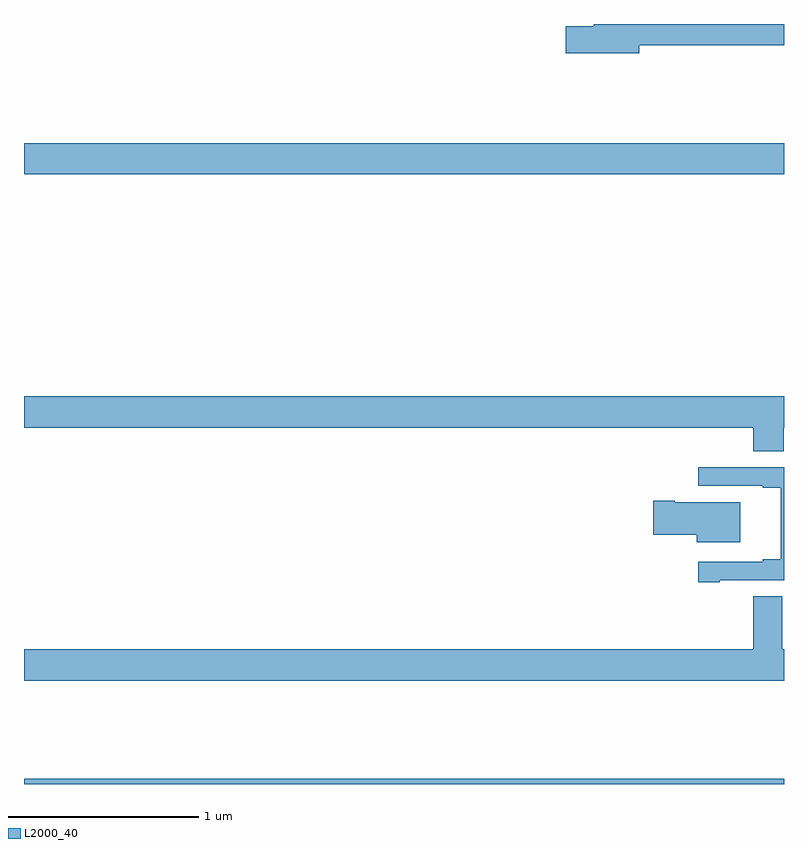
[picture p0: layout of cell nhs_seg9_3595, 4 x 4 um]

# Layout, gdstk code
import gdstk
lib = gdstk.Library(unit=1e-6, precision=1e-09)
def R(c, l, rs):  # rectangles x0, y0, x1, y1
    for r in rs: c.add(gdstk.rectangle(r[:2], r[2:], *l))
def P(c, l, *ps):  # polygons
    for p in ps: c.add(gdstk.Polygon(p, *l))
L2000_40 = (2000, 40)

nhs_seg9_3595 = lib.new_cell('nhs_seg9_3595')
R(nhs_seg9_3595, L2000_40, [(315,1238.5,319,1238.528), (315,1241.708,319,1241.872)])
P(nhs_seg9_3595, L2000_40, [(318.238,1242.388),(319,1242.388),(319,1242.5),(317.999,1242.5),(317.999,1242.488),(317.85,1242.488),(317.85,1242.346),(318.238,1242.346)],
  [(318.999,1240.376),(319,1240.376),(319,1240.54),(315,1240.54),(315,1240.376),(318.839,1240.376),(318.839,1240.252),(318.999,1240.252)],
  [(318.661,1239.573),(319,1239.573),(319,1240.167),(318.549,1240.167),(318.549,1240.071),(318.887,1240.071),(318.887,1240.059),(318.983,1240.059),(318.983,1239.682),(318.887,1239.682),(318.887,1239.669),(318.549,1239.669),(318.549,1239.561),(318.661,1239.561)],
  [(318.769,1239.982),(318.424,1239.982),(318.424,1239.99),(318.312,1239.99),(318.312,1239.812),(318.542,1239.812),(318.542,1239.773),(318.769,1239.773)],
  [(319,1239.208),(318.991,1239.208),(318.991,1239.488),(318.839,1239.488),(318.839,1239.208),(315,1239.208),(315,1239.044),(319,1239.044)])

lib.write_gds('nhs_seg9_3595.gds')
